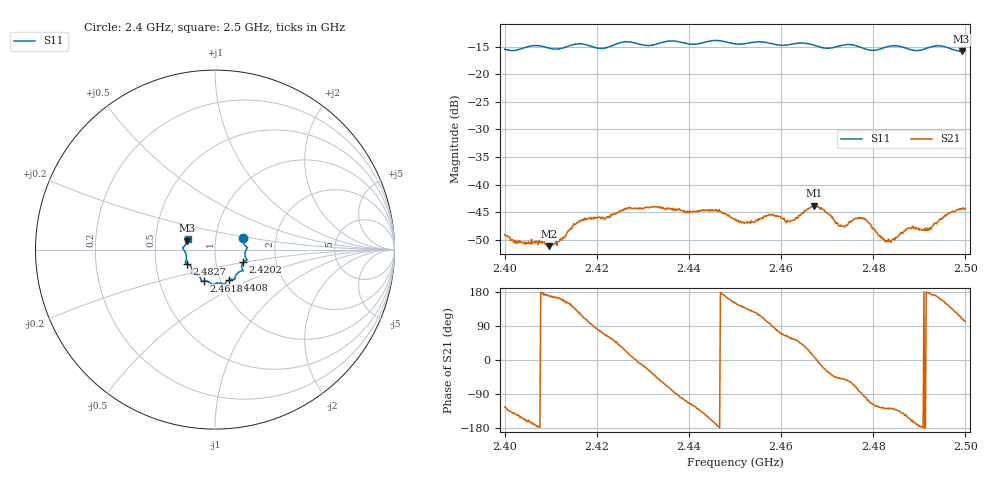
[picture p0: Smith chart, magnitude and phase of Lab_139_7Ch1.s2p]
# Hz S RI R 50
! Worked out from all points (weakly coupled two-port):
!   601 points, 2.4 GHz to 2.5 GHz, reference 50 ohm
!   highest |S21| = -43.82 dB at 2.4672 GHz (marker M1); lowest = -51.1 dB at 2.4097 GHz (marker M2)
!   lowest |S11| = -15.8 dB at 2.4992 GHz (marker M3), VSWR 1.39, Z = 36.5 + j3.71 ohm
!   |S11| at or under -10 dB: start of sweep to end of sweep
!   S12 and S22 are empty: the file has one direction only
!   S11 on the Smith chart (normalised r, x): 2.4 GHz: 1.36, +0.17; 2.4202 GHz: 1.36, -0.20; 2.4408 GHz: 1.10, -0.39; 2.4618 GHz: 0.84, -0.30; 2.4827 GHz: 0.72, -0.12; 2.5 GHz: 0.73, +0.09
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2.4e9  0.1561 0.0619  -0.00197 -0.00293  0 0  0 0
2.402333e9  0.1606 0.0336  -0.00252 -0.00188  0 0  0 0
2.409667e9  0.1717 -0.00303  -0.00274 0.000467  0 0  0 0
2.416667e9  0.1781 -0.0593  -0.00221 0.00419  0 0  0 0
2.420167e9  0.1569 -0.0704  0.000793 0.00499  0 0  0 0
2.433333e9  0.1119 -0.152  0.00411 -0.00476  0 0  0 0
2.440833e9  0.079 -0.1688  -0.00277 -0.00494  0 0  0 0
2.446e9  0.0515 -0.1948  -0.00574 -0.000976  0 0  0 0
2.45e9  0.0279 -0.1859  -0.00415 0.00242  0 0  0 0
2.453833e9  -0.00627 -0.1939  -0.00286 0.00363  0 0  0 0
2.457833e9  -0.023 -0.1879  -0.000159 0.00528  0 0  0 0
2.461833e9  -0.0601 -0.1752  0.00229 0.004  0 0  0 0
2.466667e9  -0.0769 -0.1686  0.00607 0.00164  0 0  0 0
2.467167e9  -0.0779 -0.165  0.00639 0.000846  0 0  0 0
2.473e9  -0.121 -0.1349  0.0028 -0.00329  0 0  0 0
2.478167e9  -0.126 -0.1133  -0.00061 -0.00493  0 0  0 0
2.482667e9  -0.1571 -0.0778  -0.00185 -0.00241  0 0  0 0
2.483333e9  -0.1613 -0.0763  -0.00203 -0.00251  0 0  0 0
2.488e9  -0.1596 -0.0499  -0.00366 -0.00157  0 0  0 0
2.492e9  -0.1736 -0.00174  -0.00386 0.000226  0 0  0 0
2.499167e9  -0.1538 0.0495  -0.002 0.00564  0 0  0 0
2.5e9  -0.1517 0.0614  -0.0012 0.00603  0 0  0 0
